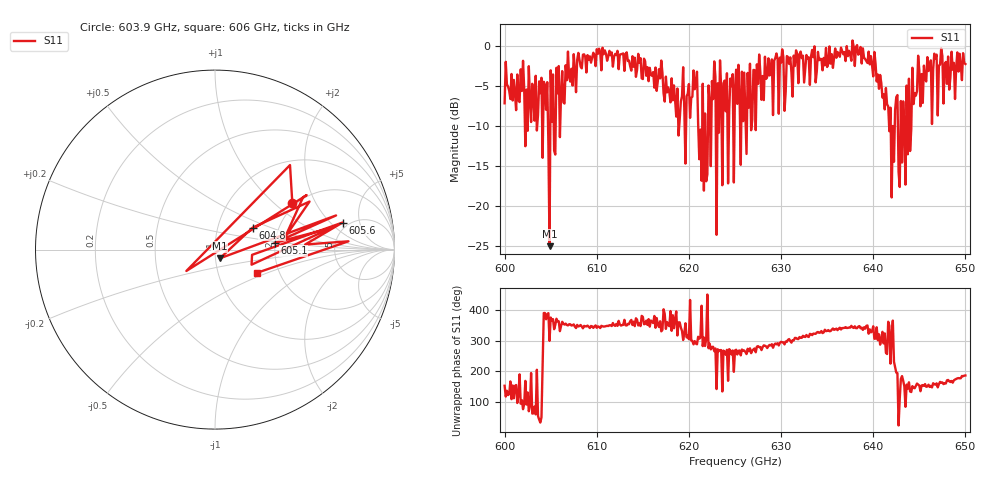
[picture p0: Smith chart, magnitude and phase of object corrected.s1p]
!Created with skrf (http://scikit-rf.org).
# GHz S MA R 50.0
!freq magS11 angS11
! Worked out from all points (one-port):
!   401 points, 600 GHz to 650 GHz, reference 50 ohm
!   lowest |S11| = -25.1 dB at 604.9 GHz (marker M1), VSWR 1.12, Z = 52.6 - j5.13 ohm
!   |S11| at or under -10 dB: 604.713 GHz to 604.9607 GHz (247.7 MHz wide, 0.0409 % of centre); 621.0065 GHz to 621.4461 GHz (439.5 MHz wide, 0.0708 % of centre); 641.9 GHz to 642.3368 GHz (436.8 MHz wide, 0.068 % of centre) (the widest 3 of 29)
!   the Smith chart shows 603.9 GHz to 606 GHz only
!   S11 on the Smith chart (normalised r, x): 603.9 GHz: 1.90, +1.34; 604.8 GHz: 1.47, +0.38; 605.1 GHz: 1.98, +0.17; 605.6 GHz: 4.44, +2.84; 606 GHz: 1.54, -0.43
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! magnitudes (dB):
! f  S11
! 600 GHz  -7.2
! 603.9 GHz  -5.9
! 604.5 GHz  -8.0
! 604.8 GHz  -12.3
! 604.9 GHz  -25.1
! 605.1 GHz  -9.5
! 605.6 GHz  -2.8
! 606 GHz  -11.4
! 606.2 GHz  -3.2
! 608.2 GHz  -2.6
! 612.5 GHz  -1.1
! 616.9 GHz  -4.1
! 618.8 GHz  -5.4
! 620.6 GHz  -5.5
! 621.6 GHz  -18.1
! 622.6 GHz  -6.7
! 623.2 GHz  -10.9
! 625 GHz  -5.3
! 631.2 GHz  -6.4
! 637.5 GHz  -1.1
! 640 GHz  -3.9
! 641.6 GHz  -7.6
! 642 GHz  -19.0
! 642.4 GHz  -8.0
! 643 GHz  -6.9
! 643.8 GHz  -13.6
! 644.8 GHz  -5.7
! 650 GHz  -2.3
